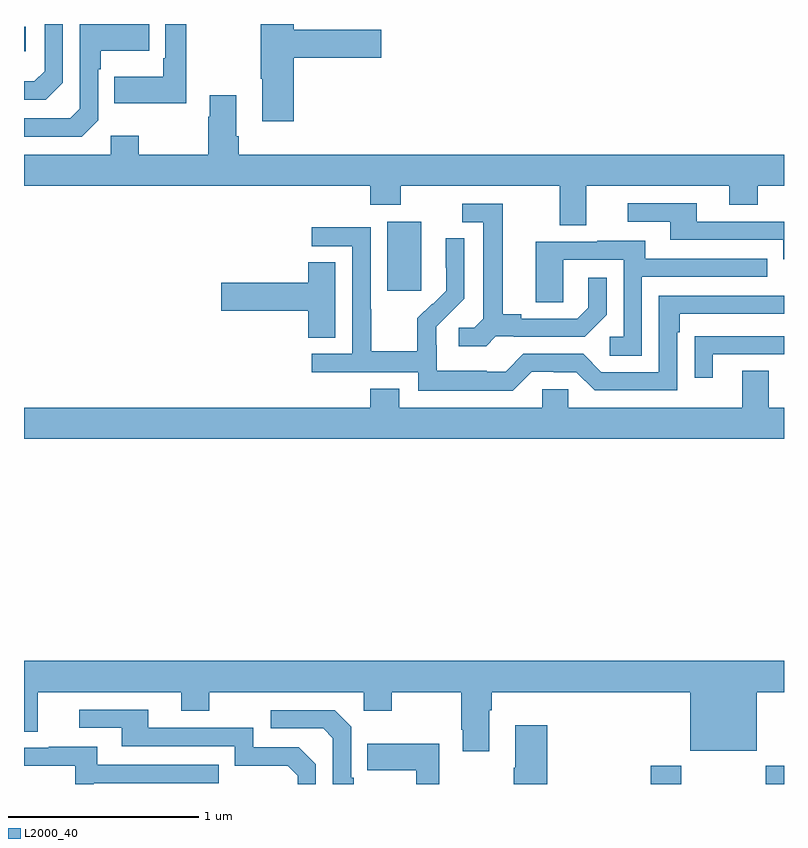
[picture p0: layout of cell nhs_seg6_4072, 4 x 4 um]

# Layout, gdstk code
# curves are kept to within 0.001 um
import gdstk
lib = gdstk.Library(unit=1e-6, precision=1e-09)
def R(c, l, rs):  # rectangles x0, y0, x1, y1
    for r in rs: c.add(gdstk.rectangle(r[:2], r[2:], *l))
def P(c, l, *ps):  # polygons
    for p in ps: c.add(gdstk.Polygon(p, *l))
L2000_40 = (2000, 40)

nhs_seg6_4072 = lib.new_cell('nhs_seg6_4072')
R(nhs_seg6_4072, L2000_40, [(354.299,965.5,354.459,965.596), (354.904,965.5,355,965.596), (352.913,968.097,353.092,968.458), (351,969.356,351.01,969.486)])
P(nhs_seg6_4072, L2000_40, [(351.204,969.192),(351.204,969.5),(351.108,969.5),(351.108,969.252),(351.055,969.199),(351,969.199),(351,969.102),(351.114,969.102)],
  [(352.421,969.323),(352.879,969.323),(352.879,969.47),(352.421,969.47),(352.421,969.5),(352.246,969.5),(352.246,969.211),(352.253,969.211),(352.253,968.988),(352.421,968.988)],
  [(351.853,969.499),(351.841,969.499),(351.841,969.5),(351.744,969.5),(351.744,969.319),(351.732,969.319),(351.732,969.223),(351.475,969.223),(351.475,969.083),(351.853,969.083)],
  [(351.39,968.994),(351.39,969.263),(351.403,969.263),(351.403,969.359),(351.659,969.359),(351.659,969.5),(351.294,969.5),(351.294,969.054),(351.243,969.003),(351,969.003),(351,968.907),(351.303,968.907)],
  [(353.959,968.648),(354.713,968.648),(354.713,968.549),(354.861,968.549),(354.861,968.648),(355,968.648),(355,968.812),(352.13,968.812),(352.13,968.908),(352.117,968.908),(352.117,969.124),(351.977,969.124),(351.977,969.011),(351.97,969.011),(351.97,968.812),(351.603,968.812),(351.603,968.911),(351.456,968.911),(351.456,968.812),(351,968.812),(351,968.648),(352.823,968.648),(352.823,968.549),(352.983,968.549),(352.983,968.648),(353.819,968.648),(353.819,968.44),(353.959,968.44)],
  [(355,968.46),(354.541,968.46),(354.541,968.556),(354.177,968.556),(354.177,968.46),(354.401,968.46),(354.401,968.364),(354.996,968.364),(354.996,968.261),(355,968.261)],
  [(353.484,967.857),(353.578,967.857),(353.578,967.854),(353.95,967.854),(354.066,967.97),(354.066,968.164),(353.969,968.164),(353.969,968.007),(353.912,967.95),(353.617,967.95),(353.617,967.973),(353.521,967.973),(353.521,968.553),(353.307,968.553),(353.307,968.457),(353.417,968.457),(353.417,967.949),(353.37,967.902),(353.289,967.902),(353.289,967.805),(353.432,967.805)],
  [(353.673,967.671),(353.789,967.671),(353.789,967.668),(353.907,967.668),(354.003,967.572),(354.438,967.572),(354.438,967.877),(354.451,967.877),(354.451,967.974),(355,967.974),(355,968.07),(354.342,968.07),(354.342,967.668),(354.039,967.668),(353.943,967.764),(353.628,967.764),(353.535,967.671),(353.435,967.671),(353.435,967.675),(353.172,967.675),(353.172,967.809),(353.17,967.809),(353.17,967.906),(353.316,968.054),(353.316,968.372),(353.22,968.372),(353.22,968.218),(353.222,968.218),(353.222,968.096),(353.151,968.025),(353.148,968.028),(353.071,967.951),(353.071,967.777),(352.827,967.777),(352.827,968),(352.824,968),(352.824,968.43),(352.515,968.43),(352.515,968.331),(352.728,968.331),(352.728,967.764),(352.515,967.764),(352.515,967.668),(353.076,967.668),(353.076,967.571),(353.573,967.571)],
  [(354.252,968.169),(354.911,968.169),(354.911,968.265),(354.271,968.265),(354.271,968.359),(354.017,968.359),(354.017,968.355),(353.693,968.355),(353.693,968.035),(353.838,968.035),(353.838,968.259),(354.156,968.259),(354.156,967.854),(354.084,967.854),(354.084,967.753),(354.252,967.753)],
  [(352.639,968.246),(352.496,968.246),(352.496,968.138),(352.038,968.138),(352.038,967.991),(352.496,967.991),(352.496,967.849),(352.639,967.849)],
  [(354.625,967.761),(355,967.761),(355,967.857),(354.631,967.857),(354.631,967.856),(354.529,967.856),(354.529,967.638),(354.625,967.638)],
  [(355,967.48),(354.919,967.48),(354.919,967.675),(354.779,967.675),(354.779,967.48),(353.865,967.48),(353.865,967.578),(353.727,967.578),(353.727,967.48),(352.975,967.48),(352.975,967.579),(352.823,967.579),(352.823,967.48),(351,967.48),(351,967.316),(355,967.316)],
  [(353.449,965.888),(353.462,965.888),(353.462,965.984),(354.506,965.984),(354.506,965.675),(354.856,965.675),(354.856,965.984),(355,965.984),(355,966.148),(351,966.148),(351,965.776),(351.073,965.776),(351.073,965.984),(351.827,965.984),(351.827,965.885),(351.975,965.885),(351.975,965.984),(352.788,965.984),(352.788,965.885),(352.935,965.885),(352.935,965.984),(353.302,965.984),(353.302,965.785),(353.309,965.785),(353.309,965.673),(353.449,965.673)],
  [(352.536,965.604),(352.446,965.694),(352.206,965.694),(352.206,965.796),(351.655,965.796),(351.655,965.892),(351.291,965.892),(351.291,965.796),(351.515,965.796),(351.515,965.7),(352.11,965.7),(352.11,965.597),(352.387,965.597),(352.44,965.544),(352.44,965.5),(352.536,965.5)],
  [(352.735,965.533),(352.722,965.533),(352.722,965.802),(352.635,965.889),(352.299,965.889),(352.299,965.793),(352.575,965.793),(352.626,965.742),(352.626,965.5),(352.735,965.5)],
  [(353.753,965.809),(353.585,965.809),(353.585,965.585),(353.578,965.585),(353.578,965.5),(353.753,965.5)],
  [(353.185,965.713),(352.807,965.713),(352.807,965.573),(353.064,965.573),(353.064,965.5),(353.185,965.5)],
  [(351.366,965.505),(352.025,965.505),(352.025,965.601),(351.385,965.601),(351.385,965.695),(351.131,965.695),(351.131,965.691),(351,965.691),(351,965.595),(351.27,965.595),(351.27,965.5),(351.366,965.5)])

lib.write_gds('nhs_seg6_4072.gds')
